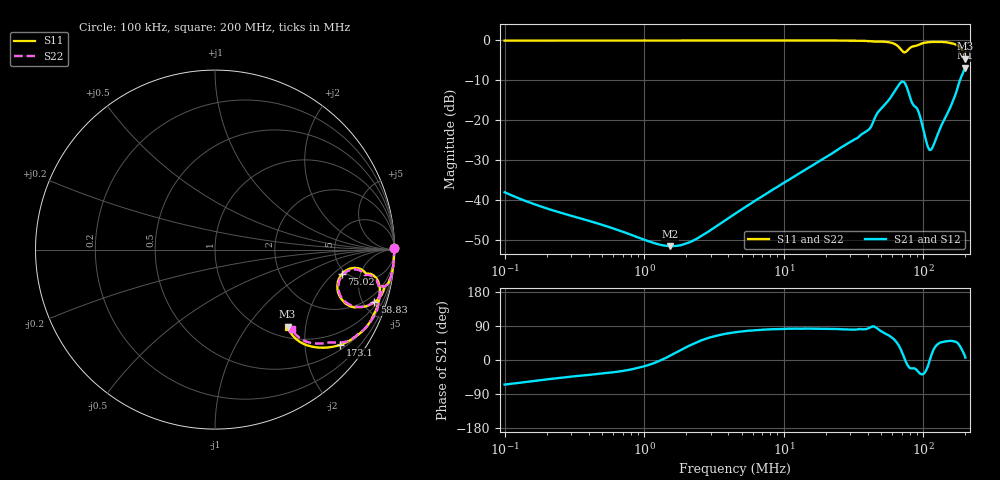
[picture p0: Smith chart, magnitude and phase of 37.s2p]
#  HZ  S  RI  R  50.00
! Rohde & Schwarz Vector Network Analyzer
! Rohde-Schwarz,ZNLE6-2Port,1323001256200024,1.71.1.10-23.02.1.238
! Created: UTC 4/7/2025, 4:22:02 AM
! freq[Hz]  re:S11  im:S11  re:S21  im:S21  re:S12  im:S12  re:S22  im:S22
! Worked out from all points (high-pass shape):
!   1001 points, 100 kHz to 200 MHz, reference 50 ohm
!   highest |S21| = -6.83 dB at 200 MHz (marker M1); lowest = -51.4 dB at 1.531 MHz (marker M2)
!   |S21| within 3 dB of the highest: 183.4 MHz to end of sweep
!   lowest |S11| = -4.6 dB at 200 MHz (marker M3), VSWR 3.87, Z = 60.5 - j79.6 ohm
!   |S11| at or under -10 dB: nowhere
!   |S22| runs from -4.2 to 0.0 dB; largest |S21 - S12| = 0.012
!   S11 on the Smith chart (normalised r, x): 100 kHz: open; 58.83 MHz: 1.28, -5.95; 75.02 MHz: 4.58, -2.61; 173.1 MHz: 0.62, -2.84; 200 MHz: 1.21, -1.59
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100000  0.9947 0.0112  0.00538 -0.0115  0.00539 -0.0115  0.9948 0.0112
355854.1  0.9955 0.00294  0.00445 -0.00388  0.00446 -0.0039  0.9957 0.00294
1266322  0.9971 -0.00304  0.00283 -0.000164  0.00283 -0.000165  0.9972 -0.00322
1531333  0.9973 -0.00438  0.00263 0.000518  0.00264 0.000515  0.9973 -0.00456
2273649  0.9976 -0.00786  0.00232 0.00219  0.00232 0.00219  0.9976 -0.00813
4472136  0.9977 -0.0182  0.00198 0.00651  0.00205 0.00649  0.9984 -0.0177
1.591428e7  0.9953 -0.0677  0.00347 0.027  0.00372 0.0269  0.9955 -0.0697
3.992194e7  0.964 -0.1882  0.00947 0.0745  0.0099 0.074  0.9579 -0.1961
4.71883e7  0.9419 -0.211  0.0182 0.1247  0.0197 0.1237  0.9333 -0.2056
5.663162e7  0.9061 -0.2781  0.0773 0.1633  0.081 0.1605  0.9054 -0.2738
5.88253e7  0.8878 -0.2932  0.0976 0.1725  0.0988 0.1712  0.8868 -0.2907
6.693938e7  0.7575 -0.3166  0.2239 0.1692  0.2306 0.1613  0.7618 -0.3116
7.113608e7  0.6857 -0.2379  0.2943 0.084  0.2962 0.0763  0.6915 -0.2384
7.502347e7  0.7059 -0.1376  0.275 -0.0254  0.2745 -0.0327  0.7105 -0.1422
8.281529e7  0.825 -0.117  0.155 -0.0634  0.1536 -0.068  0.8228 -0.1272
9.211385e7  0.8675 -0.136  0.1101 -0.0683  0.1088 -0.0715  0.8622 -0.1426
1.064252e8  0.9192 -0.222  0.0464 -0.0182  0.0462 -0.0193  0.9177 -0.2316
1.12241e8  0.9175 -0.2565  0.0425 0.00372  0.0427 0.00288  0.9174 -0.268
1.431478e8  0.8555 -0.4148  0.0703 0.0807  0.071 0.0786  0.8461 -0.428
1.731053e8  0.6961 -0.5313  0.1598 0.1706  0.164 0.1641  0.6621 -0.5175
1.853616e8  0.5849 -0.5463  0.2854 0.1826  0.2906 0.1734  0.5791 -0.524
2e8  0.404 -0.4292  0.4527 0.0513  0.4557 0.0403  0.4263 -0.4441
